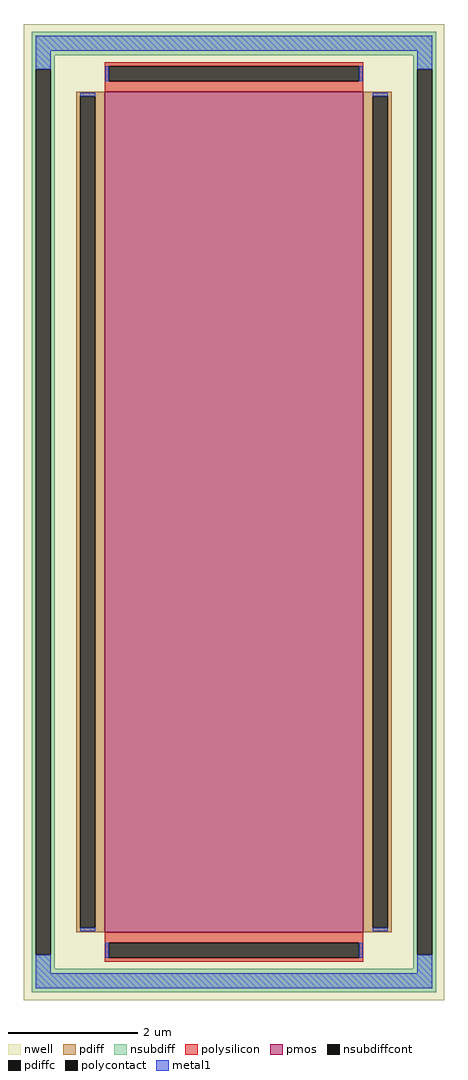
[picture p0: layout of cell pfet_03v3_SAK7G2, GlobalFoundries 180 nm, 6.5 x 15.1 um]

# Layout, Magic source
magic
tech gf180mcuD
magscale 1 10
<< nwell >>
rect -650 -1510 650 1510
<< pmos >>
rect -400 -1300 400 1300
<< pdiff >>
rect -488 1287 -400 1300
rect -488 -1287 -475 1287
rect -429 -1287 -400 1287
rect -488 -1300 -400 -1287
rect 400 1287 488 1300
rect 400 -1287 429 1287
rect 475 -1287 488 1287
rect 400 -1300 488 -1287
<< pdiffc >>
rect -475 -1287 -429 1287
rect 429 -1287 475 1287
<< nsubdiff >>
rect -626 1414 626 1486
rect -626 1370 -554 1414
rect -626 -1370 -613 1370
rect -567 -1370 -554 1370
rect 554 1370 626 1414
rect -626 -1414 -554 -1370
rect 554 -1370 567 1370
rect 613 -1370 626 1370
rect 554 -1414 626 -1370
rect -626 -1486 626 -1414
<< nsubdiffcont >>
rect -613 -1370 -567 1370
rect 567 -1370 613 1370
<< polysilicon >>
rect -400 1379 400 1392
rect -400 1333 -387 1379
rect 387 1333 400 1379
rect -400 1300 400 1333
rect -400 -1333 400 -1300
rect -400 -1379 -387 -1333
rect 387 -1379 400 -1333
rect -400 -1392 400 -1379
<< polycontact >>
rect -387 1333 387 1379
rect -387 -1379 387 -1333
<< metal1 >>
rect -613 1427 613 1473
rect -613 1370 -567 1427
rect -398 1333 -387 1379
rect 387 1333 398 1379
rect 567 1370 613 1427
rect -475 1287 -429 1298
rect -475 -1298 -429 -1287
rect 429 1287 475 1298
rect 429 -1298 475 -1287
rect -613 -1427 -567 -1370
rect -398 -1379 -387 -1333
rect 387 -1379 398 -1333
rect 567 -1427 613 -1370
rect -613 -1473 613 -1427
<< properties >>
string FIXED_BBOX -590 -1450 590 1450
string gencell pfet_03v3
string library gf180mcu
string parameters w 13 l 4 m 1 nf 1 diffcov 100 polycov 100 guard 1 glc 1 grc 1 gtc 0 gbc 0 tbcov 100 rlcov 100 topc 1 botc 1 poverlap 0 doverlap 1 lmin 0.28 wmin 0.22 class mosfet full_metal 1 compatible {pfet_03v3 pfet_05v0 pfet_06v0}
<< end >>
